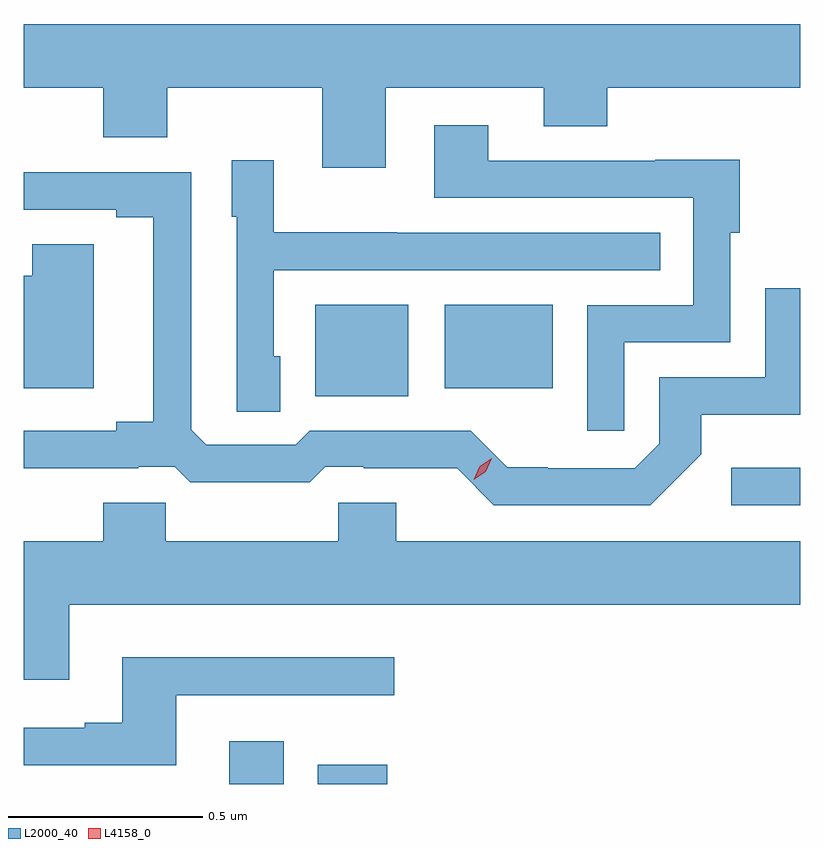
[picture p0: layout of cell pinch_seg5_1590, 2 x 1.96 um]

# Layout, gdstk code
import gdstk
lib = gdstk.Library(unit=1e-6, precision=1e-09)
def R(c, l, rs):  # rectangles x0, y0, x1, y1
    for r in rs: c.add(gdstk.rectangle(r[:2], r[2:], *l))
def P(c, l, *ps):  # polygons
    for p in ps: c.add(gdstk.Polygon(p, *l))
L2000_40 = (2000, 40)
L4158_0 = (4158, 0)

pinch_seg5_1590 = lib.new_cell('pinch_seg5_1590')
R(pinch_seg5_1590, L2000_40, [(251.675,844.31,251.815,844.42), (251.903,844.31,252.082,844.36), (252.969,845.028,253.146,845.125), (251.897,845.309,252.136,845.545), (252.23,845.33,252.508,845.545)])
P(pinch_seg5_1590, L2000_40, [(252.079,846.104),(252.485,846.104),(252.485,846.005),(252.649,846.005),(252.649,846.104),(253.146,846.104),(253.146,846.268),(251.146,846.268),(251.146,846.104),(251.351,846.104),(251.351,845.976),(251.515,845.976),(251.515,846.104),(251.915,846.104),(251.915,845.898),(252.079,845.898)],
  [(252.693,845.448),(252.966,845.448),(252.966,845.73),(252.991,845.73),(252.991,845.918),(252.773,845.918),(252.773,845.916),(252.343,845.916),(252.343,846.007),(252.203,846.007),(252.203,845.82),(252.87,845.82),(252.87,845.544),(252.597,845.544),(252.597,845.22),(252.693,845.22)],
  [(251.806,845.412),(251.79,845.412),(251.79,845.634),(252.785,845.634),(252.785,845.73),(252.107,845.73),(252.107,845.731),(251.79,845.731),(251.79,845.917),(251.681,845.917),(251.681,845.772),(251.694,845.772),(251.694,845.269),(251.806,845.269)],
  [(252.891,845.159),(252.891,845.261),(253.146,845.261),(253.146,845.587),(253.056,845.587),(253.056,845.358),(252.783,845.358),(252.783,845.187),(252.72,845.124),(252.496,845.124),(252.496,845.126),(252.392,845.126),(252.297,845.22),(251.883,845.22),(251.847,845.184),(251.616,845.184),(251.577,845.223),(251.577,845.886),(251.146,845.886),(251.146,845.79),(251.384,845.79),(251.384,845.77),(251.48,845.77),(251.48,845.243),(251.384,845.243),(251.384,845.22),(251.146,845.22),(251.146,845.123),(251.441,845.123),(251.441,845.127),(251.535,845.127),(251.575,845.088),(251.883,845.088),(251.922,845.127),(252.022,845.127),(252.022,845.123),(252.263,845.123),(252.357,845.028),(252.76,845.028)],
  [(251.326,845.701),(251.168,845.701),(251.168,845.62),(251.146,845.62),(251.146,845.33),(251.326,845.33)],
  [(251.263,844.772),(253.146,844.772),(253.146,844.936),(252.106,844.936),(252.106,845.034),(251.956,845.034),(251.956,844.936),(251.511,844.936),(251.511,845.034),(251.351,845.034),(251.351,844.936),(251.146,844.936),(251.146,844.578),(251.263,844.578)],
  [(251.539,844.539),(252.1,844.539),(252.1,844.636),(251.399,844.636),(251.399,844.468),(251.303,844.468),(251.303,844.455),(251.146,844.455),(251.146,844.358),(251.539,844.358)])
P(pinch_seg5_1590, L4158_0, [(252.305,845.094),(252.305,845.094),(252.321,845.128),(252.352,845.149),(252.352,845.149),(252.352,845.149),(252.336,845.115),(252.305,845.094)])

lib.write_gds('pinch_seg5_1590.gds')
